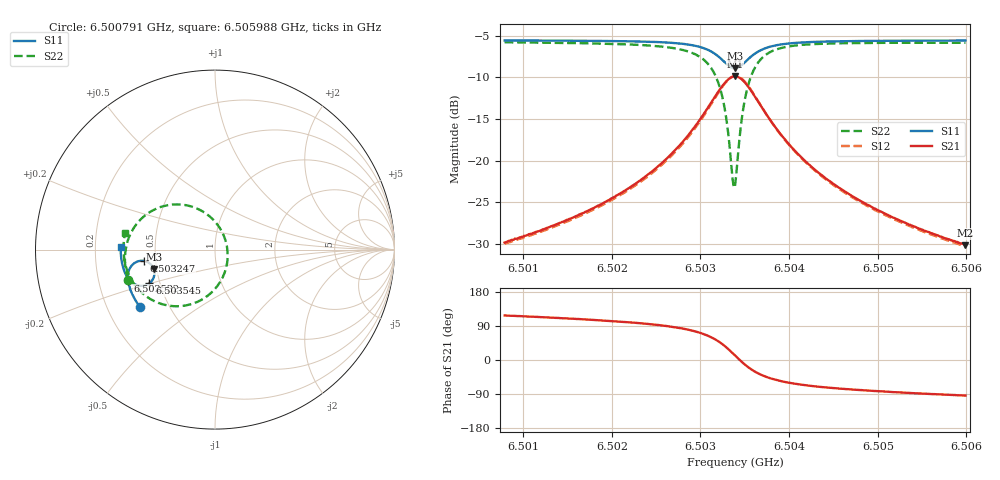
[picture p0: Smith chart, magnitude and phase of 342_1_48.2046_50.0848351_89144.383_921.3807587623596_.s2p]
#  HZ  S  RI  R  50.00
! Rohde & Schwarz Vector Network Analyzer
! Rohde-Schwarz,ZNB20-2Port,1311601062101988,3.16
! Created: UTC 3/20/2024, 11:51:20 AM
! freq[Hz]  re:S11  im:S11  re:S21  im:S21  re:S12  im:S12  re:S22  im:S22
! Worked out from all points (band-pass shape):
!   401 points, 6.500791 GHz to 6.505988 GHz, reference 50 ohm
!   highest |S21| = -9.88 dB at 6.50339 GHz (marker M1); lowest = -30.1 dB at 6.505988 GHz (marker M2)
!   |S21| within 3 dB of the highest: 6.50313 GHz to 6.503649 GHz (519.5 kHz wide, 0.00799 % of centre)
!   lowest |S11| = -8.9 dB at 6.50339 GHz (marker M3), VSWR 2.12, Z = 24.1 - j6.13 ohm
!   |S11| at or under -10 dB: nowhere
!   |S22| runs from -23.2 to -5.8 dB; largest |S21 - S12| = 0.011
!   S11 on the Smith chart (normalised r, x): 6.500791 GHz: 0.34, -0.30; 6.502532 GHz: 0.33, -0.15; 6.503247 GHz: 0.43, -0.06; 6.503545 GHz: 0.44, -0.20; 6.505988 GHz: 0.31, +0.01
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6.5007913e9  -0.4188 -0.319  -0.0149 0.0287  -0.0133 0.0289  -0.485 -0.1685
6.5016617e9  -0.4575 -0.2561  -0.0145 0.0461  -0.0121 0.0456  -0.5008 -0.0783
6.5021424e9  -0.4749 -0.2144  -0.0119 0.0649  -0.00896 0.0638  -0.4994 -0.0124
6.5025322e9  -0.4848 -0.1725  -0.00334 0.0937  0.000161 0.0914  -0.4816 0.0625
6.502831e9  -0.4835 -0.1292  0.02 0.1343  0.0239 0.1304  -0.4326 0.148
6.5030258e9  -0.4667 -0.092  0.066 0.1748  0.0688 0.1691  -0.3438 0.2198
6.5031557e9  -0.4354 -0.0677  0.1342 0.1973  0.1353 0.1911  -0.2202 0.2519
6.5032467e9  -0.3978 -0.0625  0.2091 0.1877  0.2096 0.1824  -0.0901 0.2241
6.5032987e9  -0.3727 -0.0709  0.2566 0.1604  0.2575 0.1556  -0.0111 0.1678
6.5033636e9  -0.3466 -0.0966  0.3034 0.0982  0.3059 0.0931  0.0593 0.0484
6.5033896e9  -0.3404 -0.1108  0.3136 0.0667  0.3166 0.0609  0.07 -0.0101
6.5034026e9  -0.3385 -0.1183  0.3162 0.0503  0.3194 0.044  0.0706 -0.04
6.5034545e9  -0.3394 -0.1485  0.3109 -0.0138  0.3134 -0.0225  0.0432 -0.1537
6.5034805e9  -0.3444 -0.162  0.2997 -0.0421  0.3016 -0.0519  0.0143 -0.2013
6.5035455e9  -0.3651 -0.1872  0.2582 -0.0951  0.2569 -0.1058  -0.0795 -0.282
6.5036494e9  -0.4035 -0.2019  0.1855 -0.1306  0.1804 -0.1396  -0.2254 -0.3154
6.5038183e9  -0.4487 -0.192  0.1059 -0.1279  0.0991 -0.1328  -0.3688 -0.2701
6.5040002e9  -0.4756 -0.1707  0.0626 -0.1086  0.0566 -0.1107  -0.4391 -0.2067
6.50426e9  -0.4963 -0.1406  0.0334 -0.0851  0.0287 -0.0855  -0.4815 -0.1358
6.5046757e9  -0.5124 -0.0983  0.0139 -0.0615  0.0108 -0.061  -0.5044 -0.0575
6.5051304e9  -0.5211 -0.0568  0.00489 -0.0466  0.00268 -0.0459  -0.5095 0.004
6.5059879e9  -0.5258 0.0152  -0.00207 -0.0311  -0.00342 -0.0306  -0.5013 0.0928
